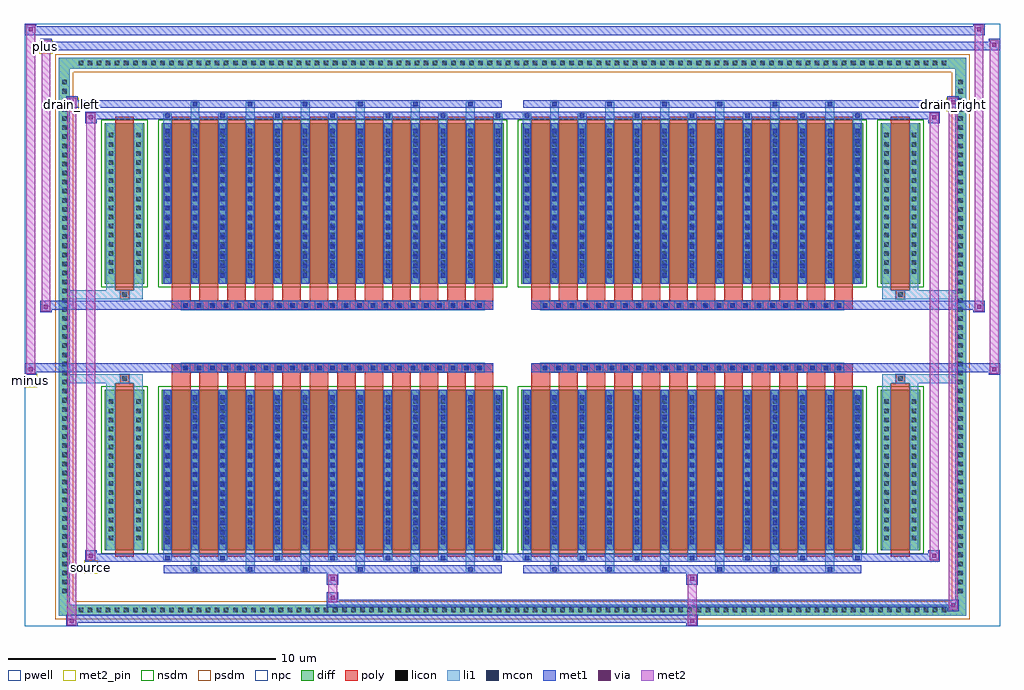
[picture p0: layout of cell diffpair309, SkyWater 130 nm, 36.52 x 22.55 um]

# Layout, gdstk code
import gdstk
lib = gdstk.Library(unit=1e-6, precision=5e-09)
def R(c, l, rs):  # rectangles x0, y0, x1, y1
    for r in rs: c.add(gdstk.rectangle(r[:2], r[2:], *l))
def A(c, l, x, y, w, h, nx, ny, dx, dy):  # array of equal rectangles
    R(c, l, [(x+i*dx, y+j*dy, x+i*dx+w, y+j*dy+h) for i in range(nx) for j in range(ny)])
def P(c, l, *ps):  # polygons
    for p in ps: c.add(gdstk.Polygon(p, *l))
pwell = (64, 44)
diff = (65, 20)
poly = (66, 20)
licon = (66, 44)
li1 = (67, 20)
mcon = (67, 44)
met1 = (68, 20)
via = (68, 44)
met2_pin = (69, 16)
met2 = (69, 20)
nsdm = (93, 44)
psdm = (94, 20)
npc = (95, 20)

diffpair309 = lib.new_cell('diffpair309')
R(diffpair309, pwell, [(-18.24,-10.84,18.24,11.71), (-15.56,-9.03,-0.01,-0.805), (0.01,-9.03,15.56,-0.805), (-15.56,0.805,-0.01,9.03), (0.01,0.805,15.56,9.03)])
A(diffpair309, diff, -16.355, -10.44, 0.41, 0.41, 96, 2, 0.34, 20.47)
A(diffpair309, diff, -16.97, -9.725, 0.41, 0.41, 1, 57, 0, 0.34)
A(diffpair309, diff, 16.56, -9.725, 0.41, 0.41, 1, 57, 0, 0.34)
R(diffpair309, diff, [(-16.355,-10.44,16.355,-10.03), (-16.97,-9.725,-16.56,9.725), (16.56,-9.725,16.97,9.725), (-15.25,-7.985,-13.77,-1.985), (-13.13,-7.985,-0.32,-1.985), (0.32,-7.985,13.13,-1.985), (13.77,-7.985,15.25,-1.985), (-15.25,1.985,-13.77,7.985), (-13.13,1.985,-0.32,7.985), (0.32,1.985,13.13,7.985), (13.77,1.985,15.25,7.985), (-16.355,10.03,16.355,10.44)])
P(diffpair309, diff, [(16.97,10.44),(-16.97,10.44),(-16.97,-10.03),(-16.56,-10.03),(-16.56,10.03),(16.56,10.03),(16.56,-10.03),(-16.56,-10.03),(-16.97,-10.03),(-16.97,-10.44),(16.97,-10.44)])
A(diffpair309, poly, -12.74, -8.235, 0.7, 6.5, 12, 2, 1.03, 9.97)
A(diffpair309, poly, 0.71, -8.235, 0.7, 6.5, 12, 2, 1.03, 9.97)
A(diffpair309, poly, -12.74, -1.735, 0.7, 0.4, 12, 2, 1.03, 3.07)
A(diffpair309, poly, 0.71, -1.735, 0.7, 0.4, 12, 2, 1.03, 3.07)
A(diffpair309, poly, -12.39, -1.335, 0.33, 0.33, 23, 2, 0.5, 2.34)
A(diffpair309, poly, 1.06, -1.335, 0.33, 0.33, 23, 2, 0.5, 2.34)
R(diffpair309, poly, [(-14.86,-8.235,-14.16,-1.735), (14.16,-8.235,14.86,-1.735), (-14.675,-1.735,-14.345,-1.405), (-14.675,-1.735,-14.345,-1.405), (14.345,-1.735,14.675,-1.405), (14.345,-1.735,14.675,-1.405), (-12.74,-1.335,-0.71,-1.005), (0.71,-1.335,12.74,-1.005), (-12.74,1.005,-0.71,1.335), (0.71,1.005,12.74,1.335), (-14.675,1.405,-14.345,1.735), (-14.675,1.405,-14.345,1.735), (14.345,1.405,14.675,1.735), (14.345,1.405,14.675,1.735), (-14.86,1.735,-14.16,8.235), (14.16,1.735,14.86,8.235)])
A(diffpair309, licon, -16.235, -10.32, 0.17, 0.17, 96, 2, 0.34, 20.47)
A(diffpair309, licon, -16.85, -9.605, 0.17, 0.17, 1, 57, 0, 0.34)
A(diffpair309, licon, 16.68, -9.605, 0.17, 0.17, 1, 57, 0, 0.34)
A(diffpair309, licon, -15.11, -7.62, 0.17, 0.17, 1, 16, 0, 0.34)
A(diffpair309, licon, -14.08, -7.62, 0.17, 0.17, 1, 16, 0, 0.34)
A(diffpair309, licon, -12.99, -7.62, 0.17, 0.17, 13, 16, 1.03, 0.34)
A(diffpair309, licon, 0.46, -7.62, 0.17, 0.17, 13, 16, 1.03, 0.34)
A(diffpair309, licon, 13.91, -7.62, 0.17, 0.17, 1, 16, 0, 0.34)
A(diffpair309, licon, 14.94, -7.62, 0.17, 0.17, 1, 16, 0, 0.34)
A(diffpair309, licon, -12.31, -1.255, 0.17, 0.17, 23, 2, 0.5, 2.34)
A(diffpair309, licon, 1.14, -1.255, 0.17, 0.17, 23, 2, 0.5, 2.34)
A(diffpair309, licon, -15.11, 2.35, 0.17, 0.17, 1, 16, 0, 0.34)
A(diffpair309, licon, -14.08, 2.35, 0.17, 0.17, 1, 16, 0, 0.34)
A(diffpair309, licon, -12.99, 2.35, 0.17, 0.17, 13, 16, 1.03, 0.34)
A(diffpair309, licon, 0.46, 2.35, 0.17, 0.17, 13, 16, 1.03, 0.34)
A(diffpair309, licon, 13.91, 2.35, 0.17, 0.17, 1, 16, 0, 0.34)
A(diffpair309, licon, 14.94, 2.35, 0.17, 0.17, 1, 16, 0, 0.34)
R(diffpair309, licon, [(-14.595,-1.655,-14.425,-1.485), (14.425,-1.655,14.595,-1.485), (-14.595,1.485,-14.425,1.655), (14.425,1.485,14.595,1.655)])
A(diffpair309, li1, -16.315, -10.4, 0.33, 0.33, 96, 2, 0.34, 20.47)
A(diffpair309, li1, -16.93, -9.685, 0.33, 0.33, 1, 57, 0, 0.34)
A(diffpair309, li1, 16.6, -9.685, 0.33, 0.33, 1, 57, 0, 0.34)
A(diffpair309, li1, -12.04, -8.79, 0.33, 0.805, 6, 2, 2.06, 16.775)
A(diffpair309, li1, -11.96, -8.79, 0.17, 0.17, 6, 2, 2.06, 17.41)
A(diffpair309, li1, 1.41, -8.79, 0.33, 0.805, 6, 2, 2.06, 16.775)
A(diffpair309, li1, 1.49, -8.79, 0.17, 0.17, 6, 2, 2.06, 17.41)
A(diffpair309, li1, -13.07, -8.36, 0.33, 0.375, 7, 2, 2.06, 16.345)
A(diffpair309, li1, -12.99, -8.36, 0.17, 0.17, 7, 2, 2.06, 16.55)
A(diffpair309, li1, 0.38, -8.36, 0.33, 0.375, 7, 2, 2.06, 16.345)
A(diffpair309, li1, 0.46, -8.36, 0.17, 0.17, 7, 2, 2.06, 16.55)
A(diffpair309, li1, -13.07, -7.985, 0.33, 6, 13, 2, 1.03, 9.97)
A(diffpair309, li1, 0.38, -7.985, 0.33, 6, 13, 2, 1.03, 9.97)
A(diffpair309, li1, -12.99, -7.77, 0.17, 0.17, 13, 16, 1.03, 0.36)
A(diffpair309, li1, -12.99, -7.77, 0.17, 5.57, 13, 2, 1.03, 9.97)
A(diffpair309, li1, 0.46, -7.77, 0.17, 0.17, 13, 16, 1.03, 0.36)
A(diffpair309, li1, 0.46, -7.77, 0.17, 5.57, 13, 2, 1.03, 9.97)
A(diffpair309, li1, -15.19, -7.7, 0.33, 0.33, 1, 16, 0, 0.34)
A(diffpair309, li1, -14.16, -7.7, 0.33, 0.33, 1, 16, 0, 0.34)
A(diffpair309, li1, -13.07, -7.7, 0.33, 0.33, 13, 16, 1.03, 0.34)
A(diffpair309, li1, 0.38, -7.7, 0.33, 0.33, 13, 16, 1.03, 0.34)
A(diffpair309, li1, 13.83, -7.7, 0.33, 0.33, 1, 16, 0, 0.34)
A(diffpair309, li1, 14.86, -7.7, 0.33, 0.33, 1, 16, 0, 0.34)
A(diffpair309, li1, -12.39, -1.335, 0.33, 0.33, 23, 2, 0.5, 2.34)
A(diffpair309, li1, 1.06, -1.335, 0.33, 0.33, 23, 2, 0.5, 2.34)
A(diffpair309, li1, -12.99, 2.2, 0.17, 0.17, 13, 16, 1.03, 0.36)
A(diffpair309, li1, 0.46, 2.2, 0.17, 0.17, 13, 16, 1.03, 0.36)
A(diffpair309, li1, -15.19, 2.27, 0.33, 0.33, 1, 16, 0, 0.34)
A(diffpair309, li1, -14.16, 2.27, 0.33, 0.33, 1, 16, 0, 0.34)
A(diffpair309, li1, -13.07, 2.27, 0.33, 0.33, 13, 16, 1.03, 0.34)
A(diffpair309, li1, 0.38, 2.27, 0.33, 0.33, 13, 16, 1.03, 0.34)
A(diffpair309, li1, 13.83, 2.27, 0.33, 0.33, 1, 16, 0, 0.34)
A(diffpair309, li1, 14.86, 2.27, 0.33, 0.33, 1, 16, 0, 0.34)
R(diffpair309, li1, [(-16.97,-10.44,-16.56,-10.03), (-16.97,-10.44,-16.56,-10.03), (-16.56,-10.44,16.56,-10.03), (16.56,-10.44,16.97,-10.03), (16.56,-10.44,16.97,-10.03), (-16.97,-10.03,-16.56,10.03), (16.56,-10.03,16.97,10.03), (-15.19,-7.985,-14.86,-1.985), (-14.16,-7.985,-13.83,-1.985), (13.83,-7.985,14.16,-1.985), (14.86,-7.985,15.19,-1.985), (-15.19,-1.985,-14.86,-1.405), (-14.16,-1.985,-13.83,-1.405), (13.83,-1.985,14.16,-1.405), (14.86,-1.985,15.19,-1.405), (-16.97,-1.735,-14.675,-1.405), (-15.19,-1.735,-14.675,-1.405), (-14.675,-1.735,-14.345,-1.405), (-14.345,-1.735,-13.83,-1.405), (13.83,-1.735,14.345,-1.405), (14.345,-1.735,14.675,-1.405), (14.345,-1.735,16.97,-1.405), (14.675,-1.735,15.19,-1.405), (-16.97,1.405,-14.675,1.735), (-15.19,1.405,-14.675,1.735), (-15.19,1.405,-14.86,1.985), (-14.675,1.405,-14.345,1.735), (-14.345,1.405,-13.83,1.735), (-14.16,1.405,-13.83,1.985), (13.83,1.405,14.345,1.735), (13.83,1.405,14.16,1.985), (14.345,1.405,14.675,1.735), (14.345,1.405,16.97,1.735), (14.675,1.405,15.19,1.735), (14.86,1.405,15.19,1.985), (-15.19,1.985,-14.86,7.985), (-14.16,1.985,-13.83,7.985), (13.83,1.985,14.16,7.985), (14.86,1.985,15.19,7.985), (-16.97,10.03,-16.56,10.44), (-16.97,10.03,-16.56,10.44), (-16.56,10.03,16.56,10.44), (16.56,10.03,16.97,10.44), (16.56,10.03,16.97,10.44)])
A(diffpair309, mcon, -11.96, -8.79, 0.17, 0.17, 6, 2, 2.06, 17.41)
A(diffpair309, mcon, 1.49, -8.79, 0.17, 0.17, 6, 2, 2.06, 17.41)
A(diffpair309, mcon, -12.99, -8.36, 0.17, 0.17, 7, 2, 2.06, 16.55)
A(diffpair309, mcon, 0.46, -8.36, 0.17, 0.17, 7, 2, 2.06, 16.55)
A(diffpair309, mcon, -12.99, -7.77, 0.17, 0.17, 13, 16, 1.03, 0.36)
A(diffpair309, mcon, 0.46, -7.77, 0.17, 0.17, 13, 16, 1.03, 0.36)
A(diffpair309, mcon, -12.31, -1.255, 0.17, 0.17, 23, 2, 0.5, 2.34)
A(diffpair309, mcon, 1.14, -1.255, 0.17, 0.17, 23, 2, 0.5, 2.34)
A(diffpair309, mcon, -12.99, 2.2, 0.17, 0.17, 13, 16, 1.03, 0.36)
A(diffpair309, mcon, 0.46, 2.2, 0.17, 0.17, 13, 16, 1.03, 0.36)
A(diffpair309, met1, -12.02, -8.85, 0.29, 0.29, 6, 2, 2.06, 17.41)
A(diffpair309, met1, 1.43, -8.85, 0.29, 0.29, 6, 2, 2.06, 17.41)
A(diffpair309, met1, -13.05, -8.42, 0.29, 0.29, 7, 2, 2.06, 16.55)
A(diffpair309, met1, 0.4, -8.42, 0.29, 0.29, 7, 2, 2.06, 16.55)
A(diffpair309, met1, -13.05, -7.985, 0.29, 6, 13, 2, 1.03, 9.97)
A(diffpair309, met1, 0.4, -7.985, 0.29, 6, 13, 2, 1.03, 9.97)
A(diffpair309, met1, -13.05, -7.83, 0.29, 0.29, 13, 16, 1.03, 0.36)
A(diffpair309, met1, 0.4, -7.83, 0.29, 0.29, 13, 16, 1.03, 0.36)
A(diffpair309, met1, -12.37, -1.315, 0.29, 0.29, 23, 2, 0.5, 2.34)
A(diffpair309, met1, 1.08, -1.315, 0.29, 0.29, 23, 2, 0.5, 2.34)
A(diffpair309, met1, -13.05, 2.14, 0.29, 0.29, 13, 16, 1.03, 0.36)
A(diffpair309, met1, 0.4, 2.14, 0.29, 0.29, 13, 16, 1.03, 0.36)
R(diffpair309, met1, [(-16.7,-10.84,-16.27,-10.41), (6.51,-10.84,6.94,-10.41), (-16.7,-10.7,6.94,-10.41), (16.27,-10.27,16.7,-9.84), (-6.94,-10.13,16.7,-9.84), (-6.94,-9.99,-6.51,-9.56), (-6.94,-9.28,-6.51,-8.85), (6.51,-9.28,6.94,-8.85), (-13.05,-8.85,-0.4,-8.56), (0.4,-8.85,13.05,-8.56), (-15.99,-8.42,-15.56,-7.99), (-15.99,-8.42,-13.05,-8.13), (-13.05,-8.42,-0.4,-8.13), (-0.4,-8.42,0.4,-8.13), (0.4,-8.42,13.05,-8.13), (13.05,-8.42,15.99,-8.13), (15.56,-8.42,15.99,-7.99), (-18.24,-1.435,-17.81,-1.005), (17.81,-1.435,18.24,-1.005), (-18.24,-1.335,-0.71,-1.005), (-12.74,-1.335,-0.71,-1.005), (0.71,-1.335,12.74,-1.005), (0.71,-1.335,18.24,-1.005), (-17.67,0.905,-17.24,1.335), (17.24,0.905,17.67,1.335), (-17.67,1.005,-12.74,1.335), (-12.74,1.005,-0.71,1.335), (0.71,1.005,12.74,1.335), (12.74,1.005,17.67,1.335), (-15.99,7.99,-15.56,8.42), (15.56,7.99,15.99,8.42), (-15.99,8.13,-13.05,8.42), (-13.05,8.13,-0.4,8.42), (-0.4,8.13,0.4,8.42), (0.4,8.13,13.05,8.42), (13.05,8.13,15.99,8.42), (-16.7,8.56,-16.27,8.99), (-16.7,8.56,-13.05,8.85), (-13.05,8.56,-0.4,8.85), (0.4,8.56,13.05,8.85), (13.05,8.56,16.7,8.85), (16.27,8.56,16.7,8.99), (-17.67,10.71,-17.24,11.14), (-17.67,10.71,-15.56,11.04), (-15.56,10.71,15.56,11.04), (15.56,10.71,18.24,11.04), (17.81,10.71,18.24,11.14), (-18.24,11.28,-17.81,11.71), (-18.24,11.28,-15.56,11.61), (-15.56,11.28,15.56,11.61), (15.56,11.28,17.67,11.61), (17.24,11.28,17.67,11.71)])
R(diffpair309, via, [(-16.56,-10.7,-16.41,-10.55), (6.65,-10.7,6.8,-10.55), (16.41,-10.13,16.56,-9.98), (-6.8,-9.85,-6.65,-9.7), (-6.8,-9.14,-6.65,-8.99), (6.65,-9.14,6.8,-8.99), (-15.85,-8.28,-15.7,-8.13), (15.7,-8.28,15.85,-8.13), (-18.1,-1.295,-17.95,-1.145), (17.95,-1.295,18.1,-1.145), (-17.53,1.045,-17.38,1.195), (17.38,1.045,17.53,1.195), (-15.85,8.13,-15.7,8.28), (15.7,8.13,15.85,8.28), (-16.56,8.7,-16.41,8.85), (16.41,8.7,16.56,8.85), (-17.53,10.85,-17.38,11), (17.95,10.85,18.1,11), (-18.1,11.42,-17.95,11.57), (17.38,11.42,17.53,11.57)])
R(diffpair309, met2_pin, [(-16.025,-8.87,-15.525,-8.37), (-18.275,-1.885,-17.775,-1.385), (-16.735,8.44,-16.235,8.94), (16.235,8.44,16.735,8.94), (-17.705,10.59,-17.205,11.09)])
R(diffpair309, met2, [(-16.65,-10.79,-16.32,-10.46), (-16.65,-10.79,-16.32,8.94), (6.56,-10.79,6.89,-10.46), (6.56,-10.46,6.89,-9.23), (16.32,-10.22,16.65,-9.89), (16.32,-10.22,16.65,8.94), (-6.89,-9.94,-6.56,-9.61), (-6.89,-9.61,-6.56,-9.23), (-6.89,-9.23,-6.56,-8.9), (6.56,-9.23,6.89,-8.9), (-15.94,-8.37,-15.61,-8.04), (-15.94,-8.37,-15.61,8.37), (15.61,-8.37,15.94,-8.04), (15.61,-8.37,15.94,8.37), (-18.19,-1.385,-17.86,-1.055), (-18.19,-1.385,-17.86,11.66), (17.86,-1.385,18.19,-1.055), (17.86,-1.385,18.19,11.09), (-17.62,0.955,-17.29,1.285), (-17.62,0.955,-17.29,11.09), (17.29,0.955,17.62,1.285), (17.29,0.955,17.62,11.66), (-15.94,8.04,-15.61,8.37), (15.61,8.04,15.94,8.37), (-16.65,8.61,-16.32,8.94), (16.32,8.61,16.65,8.94), (-17.62,10.76,-17.29,11.09), (17.86,10.76,18.19,11.09), (-18.19,11.33,-17.86,11.66), (17.29,11.33,17.62,11.66)])
P(diffpair309, met2, [(18.19,-1.385),(18.19,-1.385),(18.19,-1.055),(18.19,-1.055)],
  [(18.19,10.76),(18.19,10.76),(18.19,11.09),(18.19,11.09)],
  [(-17.86,-1.385),(-17.86,-1.385),(-17.86,-1.055),(-17.86,-1.055)],
  [(-17.86,11.33),(-17.86,11.33),(-17.86,11.66),(-17.86,11.66)],
  [(17.62,0.955),(17.62,0.955),(17.62,1.285),(17.62,1.285)],
  [(17.62,11.33),(17.62,11.33),(17.62,11.66),(17.62,11.66)],
  [(-17.29,0.955),(-17.29,0.955),(-17.29,1.285),(-17.29,1.285)],
  [(-17.29,10.76),(-17.29,10.76),(-17.29,11.09),(-17.29,11.09)],
  [(-16.32,-10.79),(-16.32,-10.79),(-16.32,-10.46),(-16.32,-10.46)],
  [(-16.32,8.61),(-16.32,8.61),(-16.32,8.94),(-16.32,8.94)],
  [(16.65,-10.22),(16.65,-10.22),(16.65,-9.89),(16.65,-9.89)],
  [(16.65,8.61),(16.65,8.61),(16.65,8.94),(16.65,8.94)],
  [(-15.61,-8.37),(-15.61,-8.37),(-15.61,-8.04),(-15.61,-8.04)],
  [(-15.61,8.04),(-15.61,8.04),(-15.61,8.37),(-15.61,8.37)],
  [(15.94,-8.37),(15.94,-8.37),(15.94,-8.04),(15.94,-8.04)],
  [(15.94,8.04),(15.94,8.04),(15.94,8.37),(15.94,8.37)])
R(diffpair309, nsdm, [(-15.38,-8.115,-13.64,-1.855), (-13.26,-8.115,-0.19,-1.855), (0.19,-8.115,13.26,-1.855), (13.64,-8.115,15.38,-1.855), (-15.38,1.855,-13.64,8.115), (-13.26,1.855,-0.19,8.115), (0.19,1.855,13.26,8.115), (13.64,1.855,15.38,8.115)])
P(diffpair309, psdm, [(17.1,10.57),(-17.1,10.57),(-17.1,-9.9),(-16.43,-9.9),(-16.43,9.9),(16.43,9.9),(16.43,-9.9),(-16.43,-9.9),(-17.1,-9.9),(-17.1,-10.57),(17.1,-10.57)])
A(diffpair309, npc, -12.41, -1.355, 0.37, 0.37, 23, 2, 0.5, 2.34)
A(diffpair309, npc, 1.04, -1.355, 0.37, 0.37, 23, 2, 0.5, 2.34)
R(diffpair309, npc, [(-14.695,-1.755,-14.325,-1.385), (14.325,-1.755,14.695,-1.385), (-12.41,-1.355,-11.54,-0.985), (-12.41,-1.355,-11.54,-0.985), (-11.91,-1.355,-11.04,-0.985), (-11.91,-1.355,-11.04,-0.985), (-11.41,-1.355,-10.54,-0.985), (-11.41,-1.355,-10.54,-0.985), (-10.91,-1.355,-10.04,-0.985), (-10.91,-1.355,-10.04,-0.985), (-10.41,-1.355,-9.54,-0.985), (-10.41,-1.355,-9.54,-0.985), (-9.91,-1.355,-9.04,-0.985), (-9.91,-1.355,-9.04,-0.985), (-9.41,-1.355,-8.54,-0.985), (-9.41,-1.355,-8.54,-0.985), (-8.91,-1.355,-8.04,-0.985), (-8.91,-1.355,-8.04,-0.985), (-8.41,-1.355,-7.54,-0.985), (-8.41,-1.355,-7.54,-0.985), (-7.91,-1.355,-7.04,-0.985), (-7.91,-1.355,-7.04,-0.985), (-7.41,-1.355,-6.54,-0.985), (-7.41,-1.355,-6.54,-0.985), (-6.91,-1.355,-6.04,-0.985), (-6.91,-1.355,-6.04,-0.985), (-6.41,-1.355,-5.54,-0.985), (-6.41,-1.355,-5.54,-0.985), (-5.91,-1.355,-5.04,-0.985), (-5.91,-1.355,-5.04,-0.985), (-5.41,-1.355,-4.54,-0.985), (-5.41,-1.355,-4.54,-0.985), (-4.91,-1.355,-4.04,-0.985), (-4.91,-1.355,-4.04,-0.985), (-4.41,-1.355,-3.54,-0.985), (-4.41,-1.355,-3.54,-0.985), (-3.91,-1.355,-3.04,-0.985), (-3.91,-1.355,-3.04,-0.985), (-3.41,-1.355,-2.54,-0.985), (-3.41,-1.355,-2.54,-0.985), (-2.91,-1.355,-2.04,-0.985), (-2.91,-1.355,-2.04,-0.985), (-2.41,-1.355,-1.54,-0.985), (-2.41,-1.355,-1.54,-0.985), (-1.91,-1.355,-1.04,-0.985), (-1.91,-1.355,-1.04,-0.985), (1.04,-1.355,1.91,-0.985), (1.04,-1.355,1.91,-0.985), (1.54,-1.355,2.41,-0.985), (1.54,-1.355,2.41,-0.985), (2.04,-1.355,2.91,-0.985), (2.04,-1.355,2.91,-0.985), (2.54,-1.355,3.41,-0.985), (2.54,-1.355,3.41,-0.985), (3.04,-1.355,3.91,-0.985), (3.04,-1.355,3.91,-0.985), (3.54,-1.355,4.41,-0.985), (3.54,-1.355,4.41,-0.985), (4.04,-1.355,4.91,-0.985), (4.04,-1.355,4.91,-0.985), (4.54,-1.355,5.41,-0.985), (4.54,-1.355,5.41,-0.985), (5.04,-1.355,5.91,-0.985), (5.04,-1.355,5.91,-0.985), (5.54,-1.355,6.41,-0.985), (5.54,-1.355,6.41,-0.985), (6.04,-1.355,6.91,-0.985), (6.04,-1.355,6.91,-0.985), (6.54,-1.355,7.41,-0.985), (6.54,-1.355,7.41,-0.985), (7.04,-1.355,7.91,-0.985), (7.04,-1.355,7.91,-0.985), (7.54,-1.355,8.41,-0.985), (7.54,-1.355,8.41,-0.985), (8.04,-1.355,8.91,-0.985), (8.04,-1.355,8.91,-0.985), (8.54,-1.355,9.41,-0.985), (8.54,-1.355,9.41,-0.985), (9.04,-1.355,9.91,-0.985), (9.04,-1.355,9.91,-0.985), (9.54,-1.355,10.41,-0.985), (9.54,-1.355,10.41,-0.985), (10.04,-1.355,10.91,-0.985), (10.04,-1.355,10.91,-0.985), (10.54,-1.355,11.41,-0.985), (10.54,-1.355,11.41,-0.985), (11.04,-1.355,11.91,-0.985), (11.04,-1.355,11.91,-0.985), (11.54,-1.355,12.41,-0.985), (11.54,-1.355,12.41,-0.985), (-12.41,0.985,-11.54,1.355), (-12.41,0.985,-11.54,1.355), (-11.91,0.985,-11.04,1.355), (-11.91,0.985,-11.04,1.355), (-11.41,0.985,-10.54,1.355), (-11.41,0.985,-10.54,1.355), (-10.91,0.985,-10.04,1.355), (-10.91,0.985,-10.04,1.355), (-10.41,0.985,-9.54,1.355), (-10.41,0.985,-9.54,1.355), (-9.91,0.985,-9.04,1.355), (-9.91,0.985,-9.04,1.355), (-9.41,0.985,-8.54,1.355), (-9.41,0.985,-8.54,1.355), (-8.91,0.985,-8.04,1.355), (-8.91,0.985,-8.04,1.355), (-8.41,0.985,-7.54,1.355), (-8.41,0.985,-7.54,1.355), (-7.91,0.985,-7.04,1.355), (-7.91,0.985,-7.04,1.355), (-7.41,0.985,-6.54,1.355), (-7.41,0.985,-6.54,1.355), (-6.91,0.985,-6.04,1.355), (-6.91,0.985,-6.04,1.355), (-6.41,0.985,-5.54,1.355), (-6.41,0.985,-5.54,1.355), (-5.91,0.985,-5.04,1.355), (-5.91,0.985,-5.04,1.355), (-5.41,0.985,-4.54,1.355), (-5.41,0.985,-4.54,1.355), (-4.91,0.985,-4.04,1.355), (-4.91,0.985,-4.04,1.355), (-4.41,0.985,-3.54,1.355), (-4.41,0.985,-3.54,1.355), (-3.91,0.985,-3.04,1.355), (-3.91,0.985,-3.04,1.355), (-3.41,0.985,-2.54,1.355), (-3.41,0.985,-2.54,1.355), (-2.91,0.985,-2.04,1.355), (-2.91,0.985,-2.04,1.355), (-2.41,0.985,-1.54,1.355), (-2.41,0.985,-1.54,1.355), (-1.91,0.985,-1.04,1.355), (-1.91,0.985,-1.04,1.355), (1.04,0.985,1.91,1.355), (1.04,0.985,1.91,1.355), (1.54,0.985,2.41,1.355), (1.54,0.985,2.41,1.355), (2.04,0.985,2.91,1.355), (2.04,0.985,2.91,1.355), (2.54,0.985,3.41,1.355), (2.54,0.985,3.41,1.355), (3.04,0.985,3.91,1.355), (3.04,0.985,3.91,1.355), (3.54,0.985,4.41,1.355), (3.54,0.985,4.41,1.355), (4.04,0.985,4.91,1.355), (4.04,0.985,4.91,1.355), (4.54,0.985,5.41,1.355), (4.54,0.985,5.41,1.355), (5.04,0.985,5.91,1.355), (5.04,0.985,5.91,1.355), (5.54,0.985,6.41,1.355), (5.54,0.985,6.41,1.355), (6.04,0.985,6.91,1.355), (6.04,0.985,6.91,1.355), (6.54,0.985,7.41,1.355), (6.54,0.985,7.41,1.355), (7.04,0.985,7.91,1.355), (7.04,0.985,7.91,1.355), (7.54,0.985,8.41,1.355), (7.54,0.985,8.41,1.355), (8.04,0.985,8.91,1.355), (8.04,0.985,8.91,1.355), (8.54,0.985,9.41,1.355), (8.54,0.985,9.41,1.355), (9.04,0.985,9.91,1.355), (9.04,0.985,9.91,1.355), (9.54,0.985,10.41,1.355), (9.54,0.985,10.41,1.355), (10.04,0.985,10.91,1.355), (10.04,0.985,10.91,1.355), (10.54,0.985,11.41,1.355), (10.54,0.985,11.41,1.355), (11.04,0.985,11.91,1.355), (11.04,0.985,11.91,1.355), (11.54,0.985,12.41,1.355), (11.54,0.985,12.41,1.355), (-14.695,1.385,-14.325,1.755), (14.325,1.385,14.695,1.755)])
diffpair309.add(gdstk.Label('minus', (-18.025,-1.635), layer=69, texttype=5))
diffpair309.add(gdstk.Label('drain_right', (16.485,8.69), layer=69, texttype=5))
diffpair309.add(gdstk.Label('drain_left', (-16.485,8.69), layer=69, texttype=5))
diffpair309.add(gdstk.Label('source', (-15.775,-8.62), layer=69, texttype=5))
diffpair309.add(gdstk.Label('plus', (-17.455,10.84), layer=69, texttype=5))

lib.write_gds('diffpair309.gds')
